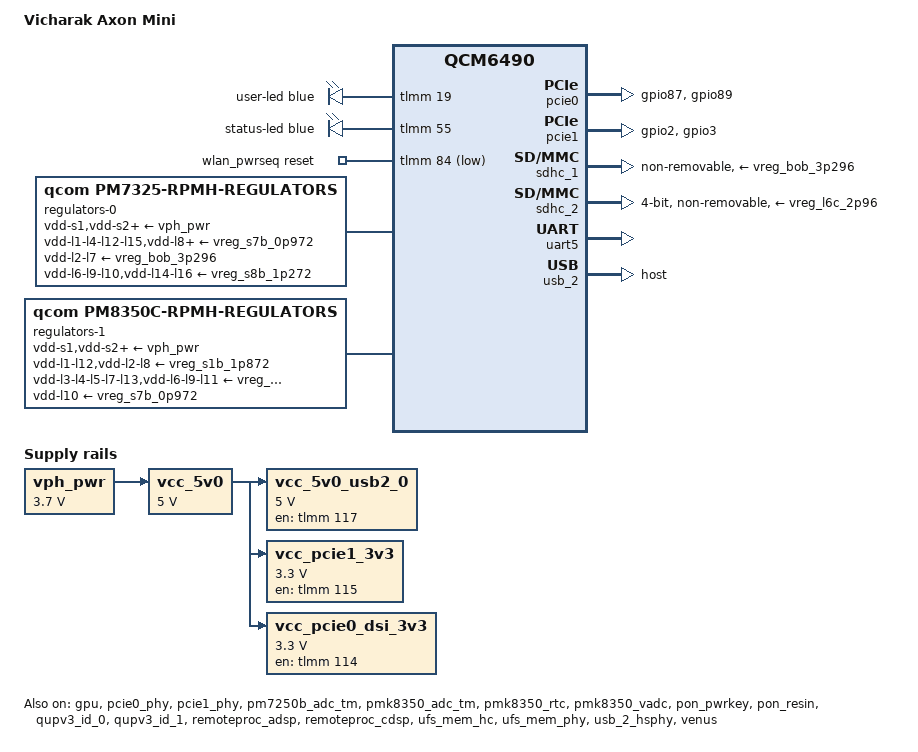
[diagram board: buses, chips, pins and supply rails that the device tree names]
// SPDX-License-Identifier: BSD-3-Clause
/*
 * Copyright (c) 2026 Vicharak Computers Pvt. Ltd.
 */

/dts-v1/;

/* PM7250B is configured to use SID8/9 */
#define PM7250B_SID 8
#define PM7250B_SID1 9

#include <dt-bindings/iio/qcom,spmi-adc7-pmk8350.h>
#include <dt-bindings/iio/qcom,spmi-adc7-pm7325.h>
#include <dt-bindings/leds/common.h>
#include <dt-bindings/pinctrl/qcom,pmic-gpio.h>
#include <dt-bindings/regulator/qcom,rpmh-regulator.h>

#include "kodiak.dtsi"
#include "pm7250b.dtsi"
#include "pm7325.dtsi"
#include "pm8350c.dtsi"
#include "pmk8350.dtsi"

/delete-node/ &adsp_mem;
/delete-node/ &cdsp_mem;
/delete-node/ &ipa_fw_mem;
/delete-node/ &mpss_mem;
/delete-node/ &remoteproc_mpss;
/delete-node/ &remoteproc_wpss;
/delete-node/ &rmtfs_mem;
/delete-node/ &video_mem;
/delete-node/ &wifi;
/delete-node/ &wlan_ce_mem;
/delete-node/ &wlan_fw_mem;
/delete-node/ &wpss_mem;
/delete-node/ &xbl_mem;

/ {
	model = "Vicharak Axon Mini";
	compatible = "vicharak,axon-mini", "qcom,qcm6490";
	chassis-type = "embedded";

	aliases {
		serial0 = &uart5;
	};

	chosen {
		stdout-path = "serial0:115200n8";
	};

	leds {
		compatible = "gpio-leds";

		pinctrl-0 = <&user_leds>;
		pinctrl-names = "default";

		user-led {
			color = <LED_COLOR_ID_BLUE>;
			function = LED_FUNCTION_INDICATOR;
			gpios = <&tlmm 19 GPIO_ACTIVE_HIGH>;
			linux,default-trigger = "default-on";
			default-state = "on";
			panic-indicator;
			retain-state-suspended;
		};

		status-led {
			color = <LED_COLOR_ID_BLUE>;
			function = LED_FUNCTION_INDICATOR;
			gpios = <&tlmm 55 GPIO_ACTIVE_HIGH>;
			linux,default-trigger = "heartbeat";
			default-state = "on";
			retain-state-suspended;
		};
	};

	reserved-memory {
		xbl_mem: xbl@80700000 {
			reg = <0x0 0x80700000 0x0 0x100000>;
			no-map;
		};

		cdsp_secure_heap_mem: cdsp-secure-heap@81800000 {
			reg = <0x0 0x81800000 0x0 0x1e00000>;
			no-map;
		};

		camera_mem: camera@84300000 {
			reg = <0x0 0x84300000 0x0 0x500000>;
			no-map;
		};

		wpss_mem: wpss@84800000 {
			reg = <0x0 0x84800000 0x0 0x1900000>;
			no-map;
		};

		adsp_mem: adsp@86100000 {
			reg = <0x0 0x86100000 0x0 0x2800000>;
			no-map;
		};

		cdsp_mem: cdsp@88900000 {
			reg = <0x0 0x88900000 0x0 0x1e00000>;
			no-map;
		};

		video_mem: video@8a700000 {
			reg = <0x0 0x8a700000 0x0 0x700000>;
			no-map;
		};

		cvp_mem: cvp@8ae00000 {
			reg = <0x0 0x8ae00000 0x0 0x500000>;
			no-map;
		};

		ipa_fw_mem: ipa-fw@8b300000 {
			reg = <0x0 0x8b300000 0x0 0x10000>;
			no-map;
		};

		ipa_gsi_mem: ipa-gsi@8b310000 {
			reg = <0x0 0x8b310000 0x0 0xa000>;
			no-map;
		};

		gpu_microcode_mem: gpu-microcode@8b31a000 {
			reg = <0x0 0x8b31a000 0x0 0x2000>;
			no-map;
		};

		tz_stat_mem: tz-stat@c0000000 {
			reg = <0x0 0xc0000000 0x0 0x100000>;
			no-map;
		};

		tags_mem: tags@c0100000 {
			reg = <0x0 0xc0100000 0x0 0x1200000>;
			no-map;
		};

		qtee_mem: qtee@c1300000 {
			reg = <0x0 0xc1300000 0x0 0x500000>;
			no-map;
		};

		trusted_apps_mem: trusted-apps@c1800000 {
			reg = <0x0 0xc1800000 0x0 0x1c00000>;
			no-map;
		};

		debug_vm_mem: debug-vm@d0600000 {
			reg = <0x0 0xd0600000 0x0 0x100000>;
			no-map;
		};
	};

	thermal-zones {
		chg-skin-thermal {
			polling-delay-passive = <0>;

			thermal-sensors = <&pm7250b_adc_tm 0>;

			trips {
				active-config0 {
					temperature = <125000>;
					hysteresis = <1000>;
					type = "passive";
				};
			};
		};

		conn-thermal {
			polling-delay-passive = <0>;

			thermal-sensors = <&pm7250b_adc_tm 1>;

			trips {
				active-config0 {
					temperature = <125000>;
					hysteresis = <1000>;
					type = "passive";
				};
			};
		};

		quiet-thermal {
			polling-delay-passive = <0>;

			thermal-sensors = <&pmk8350_adc_tm 1>;

			trips {
				active-config0 {
					temperature = <125000>;
					hysteresis = <1000>;
					type = "passive";
				};
			};
		};

		sdm-skin-thermal {
			polling-delay-passive = <0>;

			thermal-sensors = <&pmk8350_adc_tm 3>;

			trips {
				active-config0 {
					temperature = <125000>;
					hysteresis = <1000>;
					type = "passive";
				};
			};
		};

		xo-thermal {
			polling-delay-passive = <0>;

			thermal-sensors = <&pmk8350_adc_tm 0>;

			trips {
				active-config0 {
					temperature = <125000>;
					hysteresis = <1000>;
					type = "passive";
				};
			};
		};
	};

	vcc_5v0: regulator-vcc-5v-peri {
		compatible = "regulator-fixed";
		regulator-name = "vcc_5v0";
		regulator-min-microvolt = <5000000>;
		regulator-max-microvolt = <5000000>;

		vin-supply = <&vph_pwr>;

		regulator-boot-on;
		regulator-always-on;
	};

	vph_pwr: regulator-vph-pwr {
		compatible = "regulator-fixed";
		regulator-name = "vph_pwr";
		regulator-min-microvolt = <3700000>;
		regulator-max-microvolt = <3700000>;

		regulator-boot-on;
		regulator-always-on;
	};

	vcc_5v0_usb2_0: regulator-vcc-5v0-usb2-0 {
		compatible = "regulator-fixed";
		regulator-name = "vcc_5v0_usb2_0";
		regulator-min-microvolt = <5000000>;
		regulator-max-microvolt = <5000000>;

		vin-supply = <&vcc_5v0>;

		gpio = <&tlmm 117 GPIO_ACTIVE_HIGH>;
		enable-active-high;

		pinctrl-0 = <&vcc5v0_usb2_0_en>;
		pinctrl-names = "default";

		regulator-boot-on;
		regulator-always-on;
	};

	vcc_pcie1_3v3: regulator-vcc-pcie1-3v3 {
		compatible = "regulator-fixed";
		regulator-name = "vcc_pcie1_3v3";
		regulator-min-microvolt = <3300000>;
		regulator-max-microvolt = <3300000>;

		vin-supply = <&vcc_5v0>;

		gpio = <&tlmm 115 GPIO_ACTIVE_HIGH>;
		enable-active-high;

		pinctrl-0 = <&vcc_pcie1_3v3_en>;
		pinctrl-names = "default";

		regulator-boot-on;
		regulator-always-on;
	};

	vcc_pcie0_dsi_3v3: regulator-vcc-pcie0-dsi-3v3 {
		compatible = "regulator-fixed";
		regulator-name = "vcc_pcie0_dsi_3v3";
		regulator-min-microvolt = <3300000>;
		regulator-max-microvolt = <3300000>;

		vin-supply = <&vcc_5v0>;

		gpio = <&tlmm 114 GPIO_ACTIVE_HIGH>;
		enable-active-high;

		pinctrl-0 = <&vcc_pcie0_dsi_3v3_en>;
		pinctrl-names = "default";

		regulator-boot-on;
		regulator-always-on;
	};

	wlan_pwrseq: wlan-pwrseq {
		compatible = "mmc-pwrseq-simple";

		pinctrl-0 = <&wl_enable_h>;
		pinctrl-names = "default";

		reset-gpios = <&tlmm 84 GPIO_ACTIVE_LOW>;
		post-power-on-delay-ms = <200>;
		power-off-delay-us = <20000>;
	};
};

&apps_rsc {
	regulators-0 {
		compatible = "qcom,pm7325-rpmh-regulators";
		qcom,pmic-id = "b";

		vdd-s1-supply = <&vph_pwr>;
		vdd-s2-supply = <&vph_pwr>;
		vdd-s3-supply = <&vph_pwr>;
		vdd-s4-supply = <&vph_pwr>;
		vdd-s5-supply = <&vph_pwr>;
		vdd-s6-supply = <&vph_pwr>;
		vdd-s7-supply = <&vph_pwr>;
		vdd-s8-supply = <&vph_pwr>;
		vdd-l1-l4-l12-l15-supply = <&vreg_s7b_0p972>;
		vdd-l2-l7-supply = <&vreg_bob_3p296>;
		vdd-l6-l9-l10-supply = <&vreg_s8b_1p272>;
		vdd-l8-supply = <&vreg_s7b_0p972>;
		vdd-l11-l17-l18-l19-supply = <&vreg_s1b_1p872>;
		vdd-l13-supply = <&vreg_s7b_0p972>;
		vdd-l14-l16-supply = <&vreg_s8b_1p272>;

		vreg_s1b_1p872: smps1 {
			regulator-name = "vreg_s1b_1p872";
			regulator-min-microvolt = <1840000>;
			regulator-max-microvolt = <2040000>;
		};

		vreg_s7b_0p972: smps7 {
			regulator-name = "vreg_s7b_0p972";
			regulator-min-microvolt = <535000>;
			regulator-max-microvolt = <1120000>;
		};

		vreg_s8b_1p272: smps8 {
			regulator-name = "vreg_s8b_1p272";
			regulator-min-microvolt = <1200000>;
			regulator-max-microvolt = <1500000>;
			regulator-initial-mode = <RPMH_REGULATOR_MODE_RET>;
		};

		vreg_l1b_0p912: ldo1 {
			regulator-name = "vreg_l1b_0p912";
			regulator-min-microvolt = <825000>;
			regulator-max-microvolt = <925000>;
			regulator-initial-mode = <RPMH_REGULATOR_MODE_HPM>;
		};

		vreg_l2b_3p072: ldo2 {
			regulator-name = "vreg_l2b_3p072";
			regulator-min-microvolt = <2700000>;
			regulator-max-microvolt = <3544000>;
			regulator-initial-mode = <RPMH_REGULATOR_MODE_HPM>;
		};

		vreg_l3b_0p504: ldo3 {
			regulator-name = "vreg_l3b_0p504";
			regulator-min-microvolt = <312000>;
			regulator-max-microvolt = <650000>;
			regulator-initial-mode = <RPMH_REGULATOR_MODE_HPM>;
		};

		vreg_l6b_1p2: ldo6 {
			regulator-name = "vreg_l6b_1p2";
			regulator-min-microvolt = <1200000>;
			regulator-max-microvolt = <1260000>;
			regulator-initial-mode = <RPMH_REGULATOR_MODE_HPM>;
		};

		vreg_l7b_2p96: ldo7 {
			regulator-name = "vreg_l7b_2p96";
			regulator-min-microvolt = <2960000>;
			regulator-max-microvolt = <2960000>;
			regulator-initial-mode = <RPMH_REGULATOR_MODE_HPM>;
			regulator-allow-set-load;
			regulator-allowed-modes = <RPMH_REGULATOR_MODE_LPM
						   RPMH_REGULATOR_MODE_HPM>;
		};

		vreg_l8b_0p904: ldo8 {
			regulator-name = "vreg_l8b_0p904";
			regulator-min-microvolt = <870000>;
			regulator-max-microvolt = <970000>;
			regulator-initial-mode = <RPMH_REGULATOR_MODE_HPM>;
		};

		vreg_l9b_1p2: ldo9 {
			regulator-name = "vreg_l9b_1p2";
			regulator-min-microvolt = <1200000>;
			regulator-max-microvolt = <1200000>;
			regulator-initial-mode = <RPMH_REGULATOR_MODE_HPM>;
			regulator-allow-set-load;
			regulator-allowed-modes = <RPMH_REGULATOR_MODE_LPM
						   RPMH_REGULATOR_MODE_HPM>;
		};

		vreg_l11b_1p504: ldo11 {
			regulator-name = "vreg_l11b_1p504";
			regulator-min-microvolt = <1776000>;
			regulator-max-microvolt = <2000000>;
			regulator-initial-mode = <RPMH_REGULATOR_MODE_HPM>;
		};

		vreg_l12b_0p751: ldo12 {
			regulator-name = "vreg_l12b_0p751";
			regulator-min-microvolt = <751000>;
			regulator-max-microvolt = <824000>;
			regulator-initial-mode = <RPMH_REGULATOR_MODE_HPM>;
		};

		vreg_l13b_0p53: ldo13 {
			regulator-name = "vreg_l13b_0p53";
			regulator-min-microvolt = <530000>;
			regulator-max-microvolt = <824000>;
			regulator-initial-mode = <RPMH_REGULATOR_MODE_HPM>;
		};

		vreg_l14b_1p08: ldo14 {
			regulator-name = "vreg_l14b_1p08";
			regulator-min-microvolt = <1200000>;
			regulator-max-microvolt = <1304000>;
			regulator-initial-mode = <RPMH_REGULATOR_MODE_HPM>;
		};

		vreg_l15b_0p765: ldo15 {
			regulator-name = "vreg_l15b_0p765";
			regulator-min-microvolt = <765000>;
			regulator-max-microvolt = <1020000>;
			regulator-initial-mode = <RPMH_REGULATOR_MODE_HPM>;
		};

		vreg_l16b_1p1: ldo16 {
			regulator-name = "vreg_l16b_1p1";
			regulator-min-microvolt = <1100000>;
			regulator-max-microvolt = <1300000>;
			regulator-initial-mode = <RPMH_REGULATOR_MODE_HPM>;
		};

		vreg_l17b_1p7: ldo17 {
			regulator-name = "vreg_l17b_1p7";
			regulator-min-microvolt = <1700000>;
			regulator-max-microvolt = <1900000>;
			regulator-initial-mode = <RPMH_REGULATOR_MODE_HPM>;
		};

		vreg_l18b_1p8: ldo18 {
			regulator-name = "vreg_l18b_1p8";
			regulator-min-microvolt = <1800000>;
			regulator-max-microvolt = <2000000>;
			regulator-initial-mode = <RPMH_REGULATOR_MODE_HPM>;
		};

		vreg_l19b_1p8: ldo19 {
			regulator-name = "vreg_l19b_1p8";
			regulator-min-microvolt = <1800000>;
			regulator-max-microvolt = <2000000>;
			regulator-initial-mode = <RPMH_REGULATOR_MODE_HPM>;
		};
	};

	regulators-1 {
		compatible = "qcom,pm8350c-rpmh-regulators";
		qcom,pmic-id = "c";

		vdd-s1-supply = <&vph_pwr>;
		vdd-s2-supply = <&vph_pwr>;
		vdd-s3-supply = <&vph_pwr>;
		vdd-s4-supply = <&vph_pwr>;
		vdd-s5-supply = <&vph_pwr>;
		vdd-s6-supply = <&vph_pwr>;
		vdd-s7-supply = <&vph_pwr>;
		vdd-s8-supply = <&vph_pwr>;
		vdd-s9-supply = <&vph_pwr>;
		vdd-s10-supply = <&vph_pwr>;
		vdd-l1-l12-supply = <&vreg_s1b_1p872>;
		vdd-l2-l8-supply = <&vreg_s1b_1p872>;
		vdd-l3-l4-l5-l7-l13-supply = <&vreg_bob_3p296>;
		vdd-l6-l9-l11-supply = <&vreg_bob_3p296>;
		vdd-l10-supply = <&vreg_s7b_0p972>;
		vdd-bob-supply = <&vph_pwr>;

		vreg_s1c_2p19: smps1 {
			regulator-name = "vreg_s1c_2p19";
			regulator-min-microvolt = <2200000>;
			regulator-max-microvolt = <2208000>;
		};

		vreg_s9c_1p084: smps9 {
			regulator-name = "vreg_s9c_1p084";
			regulator-min-microvolt = <1010000>;
			regulator-max-microvolt = <1170000>;
		};

		vreg_l1c_1p8: ldo1 {
			regulator-name = "vreg_l1c_1p8";
			regulator-min-microvolt = <1800000>;
			regulator-max-microvolt = <1980000>;
			regulator-initial-mode = <RPMH_REGULATOR_MODE_HPM>;
		};

		vreg_l2c_1p62: ldo2 {
			regulator-name = "vreg_l2c_1p62";
			regulator-min-microvolt = <1620000>;
			regulator-max-microvolt = <1976000>;
			regulator-initial-mode = <RPMH_REGULATOR_MODE_HPM>;
		};

		vreg_l3c_2p8: ldo3 {
			regulator-name = "vreg_l3c_2p8";
			regulator-min-microvolt = <2800000>;
			regulator-max-microvolt = <3540000>;
			regulator-initial-mode = <RPMH_REGULATOR_MODE_HPM>;
		};

		vreg_l4c_1p62: ldo4 {
			regulator-name = "vreg_l4c_1p62";
			regulator-min-microvolt = <1620000>;
			regulator-max-microvolt = <3300000>;
			regulator-initial-mode = <RPMH_REGULATOR_MODE_HPM>;
		};

		vreg_l5c_1p62: ldo5 {
			regulator-name = "vreg_l5c_1p62";
			regulator-min-microvolt = <1620000>;
			regulator-max-microvolt = <3300000>;
			regulator-initial-mode = <RPMH_REGULATOR_MODE_HPM>;
		};

		vreg_l6c_2p96: ldo6 {
			regulator-name = "vreg_l6c_2p96";
			regulator-min-microvolt = <1650000>;
			regulator-max-microvolt = <3544000>;
			regulator-initial-mode = <RPMH_REGULATOR_MODE_HPM>;
		};

		vreg_l7c_3p0: ldo7 {
			regulator-name = "vreg_l7c_3p0";
			regulator-min-microvolt = <3000000>;
			regulator-max-microvolt = <3544000>;
			regulator-initial-mode = <RPMH_REGULATOR_MODE_HPM>;
		};

		vreg_l8c_1p62: ldo8 {
			regulator-name = "vreg_l8c_1p62";
			regulator-min-microvolt = <1800000>;
			regulator-max-microvolt = <2000000>;
			regulator-initial-mode = <RPMH_REGULATOR_MODE_HPM>;
		};

		vreg_l9c_2p96: ldo9 {
			regulator-name = "vreg_l9c_2p96";
			regulator-min-microvolt = <2700000>;
			regulator-max-microvolt = <3544000>;
			regulator-initial-mode = <RPMH_REGULATOR_MODE_HPM>;
		};

		vreg_l10c_0p88: ldo10 {
			regulator-name = "vreg_l10c_0p88";
			regulator-min-microvolt = <720000>;
			regulator-max-microvolt = <1050000>;
			regulator-initial-mode = <RPMH_REGULATOR_MODE_HPM>;
		};

		vreg_l11c_2p8: ldo11 {
			regulator-name = "vreg_l11c_2p8";
			regulator-min-microvolt = <2800000>;
			regulator-max-microvolt = <3544000>;
			regulator-initial-mode = <RPMH_REGULATOR_MODE_HPM>;
		};

		vreg_l12c_1p8: ldo12 {
			regulator-name = "vreg_l12c_1p8";
			regulator-min-microvolt = <1800000>;
			regulator-max-microvolt = <2000000>;
			regulator-initial-mode = <RPMH_REGULATOR_MODE_HPM>;

			/*
			 * VREG_L12C_1P8 supplies the Ampak WLAN/BT module
			 * VDDIO and the external 32.768 kHz oscillator.
			 */
			regulator-always-on;
			regulator-boot-on;
		};

		vreg_l13c_2p7: ldo13 {
			regulator-name = "vreg_l13c_2p7";
			regulator-min-microvolt = <2700000>;
			regulator-max-microvolt = <3544000>;
			regulator-initial-mode = <RPMH_REGULATOR_MODE_HPM>;
		};

		vreg_bob_3p296: bob {
			regulator-name = "vreg_bob_3p296";
			regulator-min-microvolt = <3008000>;
			regulator-max-microvolt = <3300000>;
		};
	};
};

&gcc {
	protected-clocks = <GCC_CFG_NOC_LPASS_CLK>,
			   <GCC_MSS_CFG_AHB_CLK>,
			   <GCC_MSS_GPLL0_MAIN_DIV_CLK_SRC>,
			   <GCC_MSS_OFFLINE_AXI_CLK>,
			   <GCC_MSS_Q6SS_BOOT_CLK_SRC>,
			   <GCC_MSS_Q6_MEMNOC_AXI_CLK>,
			   <GCC_MSS_SNOC_AXI_CLK>,
			   <GCC_QSPI_CNOC_PERIPH_AHB_CLK>,
			   <GCC_QSPI_CORE_CLK>,
			   <GCC_QSPI_CORE_CLK_SRC>,
			   <GCC_SEC_CTRL_CLK_SRC>,
			   <GCC_WPSS_AHB_BDG_MST_CLK>,
			   <GCC_WPSS_AHB_CLK>,
			   <GCC_WPSS_RSCP_CLK>;
};

&gpi_dma0 {
	status = "okay";
};

&gpi_dma1 {
	status = "okay";
};

&gpu {
	status = "okay";
};

&gpu_zap_shader {
	firmware-name = "qcom/qcs6490/a660_zap.mbn";
};

&ice {
	status = "disabled";
};

&pcie0 {
	perst-gpios = <&tlmm 87 GPIO_ACTIVE_LOW>;
	wake-gpios = <&tlmm 89 GPIO_ACTIVE_HIGH>;

	pinctrl-0 = <&pcie0_clkreq_n>, <&pcie0_reset_n>, <&pcie0_wake_n>;
	pinctrl-names = "default";

	status = "okay";
};

&pcie0_phy {
	vdda-phy-supply = <&vreg_l10c_0p88>;
	vdda-pll-supply = <&vreg_l6b_1p2>;

	status = "okay";
};

&pcie1 {
	perst-gpios = <&tlmm 2 GPIO_ACTIVE_LOW>;
	wake-gpios = <&tlmm 3 GPIO_ACTIVE_HIGH>;

	pinctrl-0 = <&pcie1_reset_n>, <&pcie1_wake_n>, <&pcie1_clkreq_n>;
	pinctrl-names = "default";

	status = "okay";
};

&pcie1_phy {
	vdda-phy-supply = <&vreg_l10c_0p88>;
	vdda-pll-supply = <&vreg_l6b_1p2>;

	status = "okay";
};

&pm7250b_adc {
	channel@4d {
		reg = <ADC5_AMUX_THM1_100K_PU>;
		qcom,ratiometric;
		qcom,hw-settle-time = <200>;
		qcom,pre-scaling = <1 1>;
		label = "charger_skin_therm";
	};

	channel@4f {
		reg = <ADC5_AMUX_THM3_100K_PU>;
		qcom,ratiometric;
		qcom,hw-settle-time = <200>;
		qcom,pre-scaling = <1 1>;
		label = "conn_therm";
	};
};

&pm7250b_adc_tm {
	status = "okay";

	charger-skin-therm@0 {
		reg = <0>;
		io-channels = <&pm7250b_adc ADC5_AMUX_THM1_100K_PU>;
		qcom,ratiometric;
		qcom,hw-settle-time-us = <200>;
	};

	conn-therm@1 {
		reg = <1>;
		io-channels = <&pm7250b_adc ADC5_AMUX_THM3_100K_PU>;
		qcom,ratiometric;
		qcom,hw-settle-time-us = <200>;
	};
};

&pm7325_temp_alarm {
	io-channels = <&pmk8350_vadc PM7325_ADC7_DIE_TEMP>;
	io-channel-names = "thermal";
};

&pmk8350_adc_tm {
	status = "okay";

	xo-therm@0 {
		reg = <0>;
		io-channels = <&pmk8350_vadc PMK8350_ADC7_AMUX_THM1_100K_PU>;
		qcom,ratiometric;
		qcom,hw-settle-time-us = <200>;
	};

	quiet-therm@1 {
		reg = <1>;
		io-channels = <&pmk8350_vadc PM7325_ADC7_AMUX_THM1_100K_PU>;
		qcom,ratiometric;
		qcom,hw-settle-time-us = <200>;
	};

	sdm-skin-therm@3 {
		reg = <3>;
		io-channels = <&pmk8350_vadc PM7325_ADC7_AMUX_THM3_100K_PU>;
		qcom,ratiometric;
		qcom,hw-settle-time-us = <200>;
	};
};

&pmk8350_rtc {
	status = "okay";
};

&pmk8350_vadc {
	status = "okay";

	channel@3 {
		reg = <PMK8350_ADC7_DIE_TEMP>;
		qcom,pre-scaling = <1 1>;
		label = "pmk8350_die_therm";
	};

	channel@44 {
		reg = <PMK8350_ADC7_AMUX_THM1_100K_PU>;
		qcom,ratiometric;
		qcom,hw-settle-time = <200>;
		qcom,pre-scaling = <1 1>;
		label = "pmk8350_xo_therm";
	};

	channel@103 {
		reg = <PM7325_ADC7_DIE_TEMP>;
		qcom,pre-scaling = <1 1>;
		label = "pm7325_die_therm";
	};

	channel@144 {
		reg = <PM7325_ADC7_AMUX_THM1_100K_PU>;
		qcom,ratiometric;
		qcom,hw-settle-time = <200>;
		qcom,pre-scaling = <1 1>;
		label = "pm7325_quiet_therm";
	};

	channel@146 {
		reg = <PM7325_ADC7_AMUX_THM3_100K_PU>;
		qcom,ratiometric;
		qcom,hw-settle-time = <200>;
		qcom,pre-scaling = <1 1>;
		label = "pm7325_sdm_skin_therm";
	};
};

&pon_pwrkey {
	status = "okay";
};

&pon_resin {
	linux,code = <KEY_RESTART>;

	status = "okay";
};

&qupv3_id_0 {
	firmware-name = "qcom/qcs6490/qupv3fw.elf";

	status = "okay";
};

&qupv3_id_1 {
	firmware-name = "qcom/qcs6490/qupv3fw.elf";

	status = "okay";
};

&remoteproc_adsp {
	firmware-name = "qcom/qcs6490/adsp.mbn";

	status = "okay";
};

&remoteproc_cdsp {
	firmware-name = "qcom/qcs6490/cdsp.mbn";

	status = "okay";
};

&sdhc_1 {
	vqmmc-supply = <&vreg_l19b_1p8>;
	vmmc-supply = <&vreg_bob_3p296>;

	non-removable;
	no-sd;
	no-sdio;

	status = "okay";
};

&sdhc_2 {
	vqmmc-supply = <&vreg_l2c_1p62>;
	vmmc-supply = <&vreg_l6c_2p96>;

	mmc-pwrseq = <&wlan_pwrseq>;

	bus-width = <4>;
	non-removable;
	no-sd;
	no-mmc;
	cap-sdio-irq;
	keep-power-in-suspend;
	max-frequency = <100000000>;

	status = "okay";
};

&tlmm {
	gpio-reserved-ranges = <48 4>; /* NFC */

	pcie0_reset_n: pcie0-reset-n-state {
		pins = "gpio87";
		function = "gpio";
		drive-strength = <2>;
		bias-disable;
	};

	pcie0_wake_n: pcie0-wake-n-state {
		pins = "gpio89";
		function = "gpio";
		drive-strength = <2>;
		bias-pull-up;
	};

	pcie1_reset_n: pcie1-reset-n-state {
		pins = "gpio2";
		function = "gpio";
		drive-strength = <2>;
		bias-disable;
	};

	pcie1_wake_n: pcie1-wake-n-state {
		pins = "gpio3";
		function = "gpio";
		drive-strength = <2>;
		bias-pull-up;
	};

	user_leds: user-led-state {
		pins = "gpio19", "gpio55";
		function = "gpio";
		drive-strength = <2>;
		bias-disable;
	};

	vcc5v0_usb2_0_en: vcc-5v0-usb2-0-en-state {
		pins = "gpio117";
		function = "gpio";
		drive-strength = <2>;
		bias-disable;
	};

	vcc_pcie0_dsi_3v3_en: vcc-pcie0-dsi-3v3-en-state {
		pins = "gpio114";
		function = "gpio";
		drive-strength = <2>;
		bias-disable;
	};

	vcc_pcie1_3v3_en: vcc-pcie1-3v3-en-state {
		pins = "gpio115";
		function = "gpio";
		drive-strength = <2>;
		bias-disable;
	};

	wl_enable_h: wl-enable-h-state {
		pins = "gpio84";
		function = "gpio";
		drive-strength = <8>;
		bias-disable;
	};
};

&uart5 {
	status = "okay";
};

&ufs_mem_hc {
	/delete-property/ qcom,ice;

	reset-gpios = <&tlmm 175 GPIO_ACTIVE_LOW>;
	vcc-supply = <&vreg_l7b_2p96>;
	vcc-max-microamp = <800000>;
	vccq-supply = <&vreg_l9b_1p2>;
	vccq-max-microamp = <900000>;
	vccq2-supply = <&vreg_l9b_1p2>;
	vccq2-max-microamp = <900000>;

	status = "okay";
};

&ufs_mem_phy {
	vdda-phy-supply = <&vreg_l10c_0p88>;
	vdda-pll-supply = <&vreg_l6b_1p2>;

	status = "okay";
};

&usb_2 {
	/* Routed to an onboard USB hub for two USB-A host ports. */
	dr_mode = "host";

	status = "okay";
};

&usb_2_hsphy {
	vdda-pll-supply = <&vreg_l10c_0p88>;
	vdda33-supply = <&vreg_l2b_3p072>;
	vdda18-supply = <&vreg_l1c_1p8>;

	status = "okay";
};

&venus {
	status = "okay";
};

/* pinctrl */
&pcie0_clkreq_n {
	bias-pull-up;
	drive-strength = <2>;
};

&pcie1_clkreq_n {
	bias-pull-up;
	drive-strength = <2>;
};

&sdc1_clk {
	bias-disable;
	drive-strength = <16>;
};

&sdc1_cmd {
	bias-pull-up;
	drive-strength = <10>;
};

&sdc1_data {
	bias-pull-up;
	drive-strength = <10>;
};

&sdc1_rclk {
	bias-pull-down;
};

&sdc2_clk {
	bias-disable;
	drive-strength = <16>;
};

&sdc2_cmd {
	bias-pull-up;
	drive-strength = <10>;
};

&sdc2_data {
	bias-pull-up;
	drive-strength = <10>;
};
